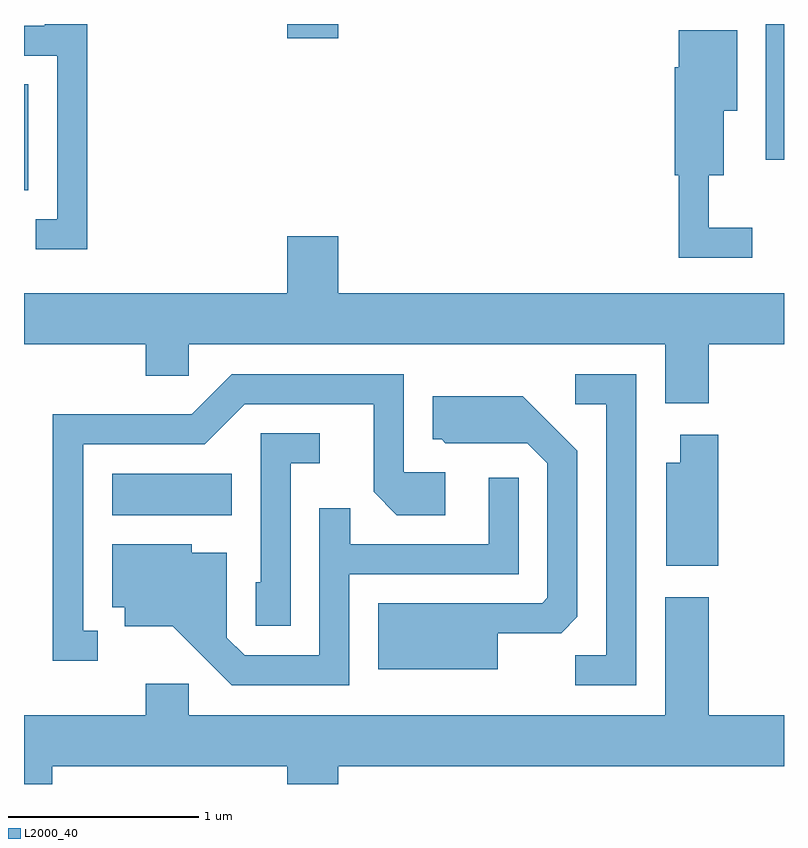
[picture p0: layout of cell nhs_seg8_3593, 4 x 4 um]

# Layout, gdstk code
import gdstk
lib = gdstk.Library(unit=1e-6, precision=1e-09)
def R(c, l, rs):  # rectangles x0, y0, x1, y1
    for r in rs: c.add(gdstk.rectangle(r[:2], r[2:], *l))
def P(c, l, *ps):  # polygons
    for p in ps: c.add(gdstk.Polygon(p, *l))
L2000_40 = (2000, 40)

nhs_seg8_3593 = lib.new_cell('nhs_seg8_3593')
R(nhs_seg8_3593, L2000_40, [(294.076,1817.756,294.704,1817.974), (293.611,1819.466,293.634,1820.024), (297.516,1819.628,297.611,1820.342), (294.996,1820.266,295.264,1820.342)])
P(nhs_seg8_3593, L2000_40, [(293.944,1820.342),(293.721,1820.342),(293.721,1820.334),(293.611,1820.334),(293.611,1820.176),(293.786,1820.176),(293.786,1819.314),(293.673,1819.314),(293.673,1819.156),(293.944,1819.156)],
  [(297.443,1819.269),(297.214,1819.269),(297.214,1819.546),(297.294,1819.546),(297.294,1819.886),(297.364,1819.886),(297.364,1820.309),(297.056,1820.309),(297.056,1820.114),(297.036,1820.114),(297.036,1819.546),(297.056,1819.546),(297.056,1819.111),(297.443,1819.111)],
  [(297.214,1818.656),(297.611,1818.656),(297.611,1818.924),(295.264,1818.924),(295.264,1819.224),(294.996,1819.224),(294.996,1818.924),(293.611,1818.924),(293.611,1818.656),(294.251,1818.656),(294.251,1818.491),(294.479,1818.491),(294.479,1818.656),(296.986,1818.656),(296.986,1818.346),(297.214,1818.346)],
  [(296.834,1818.499),(296.513,1818.499),(296.513,1818.341),(296.676,1818.341),(296.676,1817.019),(296.513,1817.019),(296.513,1816.861),(296.834,1816.861)],
  [(293.998,1817.149),(293.924,1817.149),(293.924,1818.131),(294.562,1818.131),(294.772,1818.341),(295.451,1818.341),(295.451,1817.879),(295.574,1817.756),(295.829,1817.756),(295.829,1817.984),(295.609,1817.984),(295.609,1818.499),(294.704,1818.499),(294.494,1818.289),(293.761,1818.289),(293.761,1816.991),(293.998,1816.991)],
  [(296.104,1817.136),(296.439,1817.136),(296.524,1817.222),(296.524,1818.097),(296.237,1818.384),(295.761,1818.384),(295.761,1818.156),(295.809,1818.156),(295.829,1818.136),(296.259,1818.136),(296.366,1818.029),(296.366,1817.322),(296.339,1817.294),(295.476,1817.294),(295.476,1816.946),(296.104,1816.946)],
  [(295.014,1818.031),(295.168,1818.031),(295.168,1818.189),(294.856,1818.189),(294.856,1817.404),(294.831,1817.404),(294.831,1817.176),(295.014,1817.176)],
  [(297.264,1818.179),(297.066,1818.179),(297.066,1818.034),(296.991,1818.034),(296.991,1817.491),(297.264,1817.491)],
  [(295.324,1817.446),(296.214,1817.446),(296.214,1817.953),(296.056,1817.953),(296.056,1817.604),(295.329,1817.604),(295.329,1817.793),(295.166,1817.793),(295.166,1817.019),(294.772,1817.019),(294.679,1817.112),(294.679,1817.559),(294.494,1817.559),(294.494,1817.604),(294.076,1817.604),(294.076,1817.271),(294.141,1817.271),(294.141,1817.171),(294.394,1817.171),(294.704,1816.861),(295.324,1816.861)],
  [(293.759,1816.436),(294.996,1816.436),(294.996,1816.342),(295.264,1816.342),(295.264,1816.436),(297.611,1816.436),(297.611,1816.704),(297.214,1816.704),(297.214,1817.324),(296.986,1817.324),(296.986,1816.704),(294.479,1816.704),(294.479,1816.869),(294.251,1816.869),(294.251,1816.704),(293.611,1816.704),(293.611,1816.342),(293.759,1816.342)])

lib.write_gds('nhs_seg8_3593.gds')
